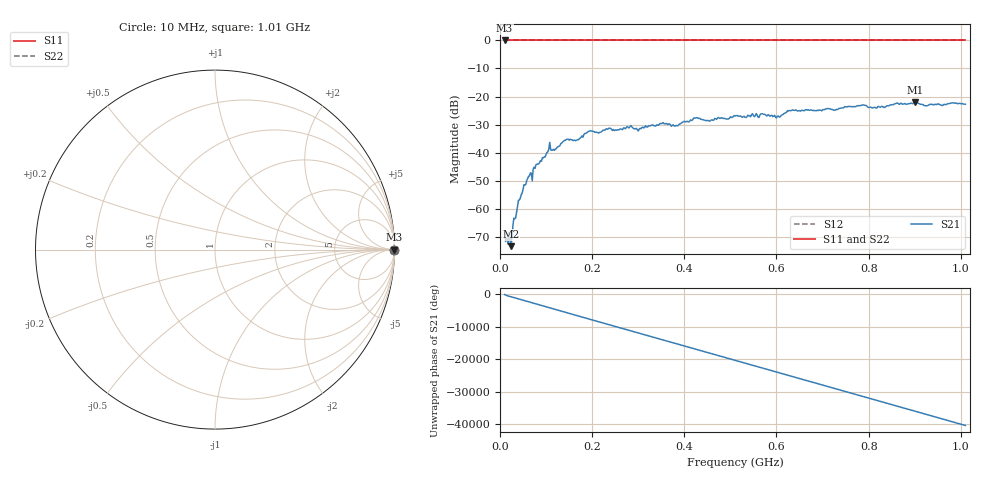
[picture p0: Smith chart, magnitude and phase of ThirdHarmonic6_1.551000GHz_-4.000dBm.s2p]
! 8/16/2025 6:24:26 PM
! C:\ANRITSUVNA\TEMP\TEMP.S2P
! CHANNEL.1
! TR.MEASUREMENT
! RAW.DATA
! RF.CORRECTION.OFF
! AVERAGING.OFF
! IF.BANDWIDTH: 5KHZ
! SWEEPTYPE:  FREQ.SWEEP(Linear)
! Reference Plane Port Info
! PORT:  PORT1  PORT2
! DISTANCE:  0  m  0  m
! TIME:  0  s  0  s
! PHASE.OFFSET:  0  deg.  0  deg.
! LOSS:  0  dB  0  dB
! REF.LOSS:  0  dB  0  dB
! REF.FREQ:  0  Hz  0  Hz
! Power Info
! POWER:  -20  dBm  -20  dBm
! EFF.POWER:  -20  dBm  -20  dBm
! SOURCE.ATTEN:  0  dB  0  dB
! TEST.ATTEN:  0  dB  0  dB
# GHZ S RI R 50.0
! FREQ.GHZ  S11RE  S11IM  S21RE  S21IM  S12RE  S12IM  S22RE  S22IM
!; PortSelection: Port_12
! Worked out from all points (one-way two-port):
!   501 points, 10 MHz to 1.01 GHz, reference 50 ohm
!   highest |S21| = -22.11 dB at 900 MHz (marker M1); lowest = -73.4 dB at 24 MHz (marker M2)
!   lowest |S11| = 0.0 dB at 10 MHz (marker M3)
!   |S11| at or under -10 dB: nowhere
!   |S22| runs from 0.0 to 0.0 dB; largest |S21 - S12| = 1.1
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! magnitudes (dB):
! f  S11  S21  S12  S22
! 10 MHz  0.0  -68.2  0.0  0.0
! 20 MHz  0.0  -68.5  0.0  0.0
! 24 MHz  0.0  -73.4  0.0  0.0
! 42 MHz  0.0  -57.0  0.0  0.0
! 56 MHz  0.0  -51.3  0.0  0.0
! 76 MHz  0.0  -45.7  0.0  0.0
! 106 MHz  0.0  -38.7  0.0  0.0
! 178 MHz  0.0  -34.1  0.0  0.0
! 196 MHz  0.0  -32.3  0.0  0.0
! 280 MHz  0.0  -31.2  0.0  0.0
! 302 MHz  0.0  -31.7  0.0  0.0
! 344 MHz  0.0  -30.3  0.0  0.0
! 382 MHz  0.0  -30.3  0.0  0.0
! 424 MHz  0.0  -27.7  0.0  0.0
! 452 MHz  0.0  -28.5  0.0  0.0
! 510 MHz  0.0  -27.0  0.0  0.0
! 602 MHz  0.0  -27.0  0.0  0.0
! 628 MHz  0.0  -25.0  0.0  0.0
! 678 MHz  0.0  -25.0  0.0  0.0
! 844 MHz  0.0  -23.3  0.0  0.0
! 900 MHz  0.0  -22.1  0.0  0.0
! 1.01 GHz  0.0  -22.8  0.0  0.0
